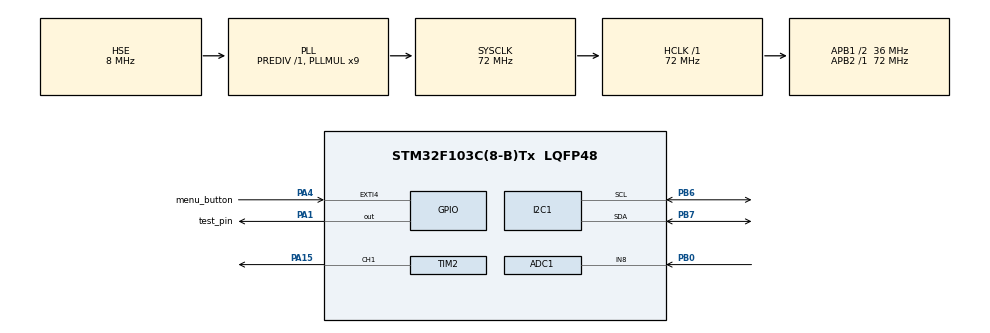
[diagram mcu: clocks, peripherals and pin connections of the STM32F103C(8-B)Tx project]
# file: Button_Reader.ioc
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ADC1.Channel-3\#ChannelRegularConversion=ADC_CHANNEL_8
ADC1.ContinuousConvMode=ENABLE
ADC1.NbrOfConversion=1
ADC1.NbrOfConversionFlag=1
ADC1.Rank-3\#ChannelRegularConversion=1
ADC1.SamplingTime-3\#ChannelRegularConversion=ADC_SAMPLETIME_239CYCLES_5
ADC1.master=1
Dma.ADC1.0.Direction=DMA_PERIPH_TO_MEMORY
Dma.ADC1.0.Instance=DMA1_Channel1
Dma.ADC1.0.MemDataAlignment=DMA_MDATAALIGN_HALFWORD
Dma.ADC1.0.MemInc=DMA_MINC_ENABLE
Dma.ADC1.0.Mode=DMA_CIRCULAR
Dma.ADC1.0.PeriphDataAlignment=DMA_PDATAALIGN_HALFWORD
Dma.ADC1.0.PeriphInc=DMA_PINC_DISABLE
Dma.ADC1.0.Priority=DMA_PRIORITY_LOW
Dma.Request0=ADC1
Mcu.Family=STM32F1
Mcu.Name=STM32F103C(8-B)Tx
Mcu.Package=LQFP48
NVIC.DMA1_Channel1_IRQn=true\:0\:0\:false\:false\:true\:false\:true
NVIC.EXTI4_IRQn=true\:0\:0\:false\:false\:true\:true\:true
NVIC.PriorityGroup=NVIC_PRIORITYGROUP_4
PA1.GPIO_Label=test_pin
PA1.Signal=GPIO_Output
PA13.Mode=Serial_Wire
PA13.Signal=SYS_JTMS-SWDIO
PA14.Mode=Serial_Wire
PA14.Signal=SYS_JTCK-SWCLK
PA15.Signal=S_TIM2_CH1_ETR
PA4.GPIO_Label=menu_button
PA4.GPIO_ModeDefaultEXTI=GPIO_MODE_IT_FALLING
PA4.Signal=GPXTI4
PB0.Signal=ADCx_IN8
PB6.Mode=I2C
PB6.Signal=I2C1_SCL
PB7.Mode=I2C
PB7.Signal=I2C1_SDA
PD0-OSC_IN.Mode=HSE-External-Oscillator
PD0-OSC_IN.Signal=RCC_OSC_IN
PD1-OSC_OUT.Mode=HSE-External-Oscillator
PD1-OSC_OUT.Signal=RCC_OSC_OUT
ProjectManager.HeapSize=0x200
ProjectManager.StackSize=0x400
ProjectManager.TargetToolchain=STM32CubeIDE
RCC.ADCPresc=RCC_ADCPCLK2_DIV6
RCC.AHBFreq_Value=72000000
RCC.APB1CLKDivider=RCC_HCLK_DIV2
RCC.APB1Freq_Value=36000000
RCC.APB1TimFreq_Value=72000000
RCC.APB2Freq_Value=72000000
RCC.APB2TimFreq_Value=72000000
RCC.HCLKFreq_Value=72000000
RCC.PLLMUL=RCC_PLL_MUL9
RCC.PLLSourceVirtual=RCC_PLLSOURCE_HSE
RCC.SYSCLKFreq_VALUE=72000000
RCC.SYSCLKSource=RCC_SYSCLKSOURCE_PLLCLK
RCC.USBFreq_Value=72000000
SH.ADCx_IN8.0=ADC1_IN8,IN8
SH.S_TIM2_CH1_ETR.0=TIM2_CH1,PWM Generation1 CH1
TIM2.Channel-PWM\ Generation1\ CH1=TIM_CHANNEL_1
TIM2.Period=100
TIM2.Prescaler=200
TIM2.Pulse-PWM\ Generation1\ CH1=0
board=custom

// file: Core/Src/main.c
/* USER CODE BEGIN Header */
/**
  ******************************************************************************
  * @file           : main.c
  * @brief          : Main program body
  ******************************************************************************
  * Author: Ward Almasarani
  ******************************************************************************
  */
/* USER CODE END Header */
#include "main.h"

ADC_HandleTypeDef hadc1;
DMA_HandleTypeDef hdma_adc1;

I2C_HandleTypeDef hi2c1;

TIM_HandleTypeDef htim2;

void SystemClock_Config(void);
static void MX_GPIO_Init(void);
static void MX_DMA_Init(void);
static void MX_ADC1_Init(void);
static void MX_TIM2_Init(void);
static void MX_I2C1_Init(void);

/* USER CODE BEGIN 0 */
MenuButton_t hMenuButton;
/* USER CODE END 0 */

int main(void)
{
  /* USER CODE BEGIN 1 */
	SoundTest_t			hSoundLevelTest;

	Pcf7584Control_t	hIndicator;

	hMenuButton.buttonFlag.data 		= RESET;			//Flag reset

	hSoundLevelTest.testSoundLevel 		= 10;

  /* USER CODE END 1 */

  /* MCU Configuration--------------------------------------------------------*/

  /* Reset of all peripherals, Initializes the Flash interface and the Systick. */
  HAL_Init();

  /* Configure the system clock */
  SystemClock_Config();

  /* Initialize all configured peripherals */
  MX_GPIO_Init();
  MX_DMA_Init();
  MX_ADC1_Init();
  MX_TIM2_Init();
  MX_I2C1_Init();
  /* USER CODE BEGIN 2 */
  uint16_t 	ADC_Buffer[1] 		= {0};										//Initialize ADC DMA buffer

  hIndicator.indicatorAddress 	= PCF8574_ADDRESS;
  hIndicator.indicatorEnable	= ENABLE;
  hIndicator.indicatorCounter	= ENABLE;
  hIndicator.indicatorLedSet 	= SET;

  hMenuButton.buttonStatus 		= MenuButtonStatus_notPressed;

  HAL_ADC_Start_DMA(&hadc1, ADC_Buffer, 1);							//Start ADC sampling over DMA

  HAL_TIM_PWM_Start(&htim2, TIM_CHANNEL_1);

  HAL_I2C_Init(&hi2c1);

  /* USER CODE END 2 */

  /* Infinite loop */
  /* USER CODE BEGIN WHILE */
  while (1)
  {

	  if(adcKeyboardHandler	(ADC_Buffer, hSoundLevelTest.testSoundLevel) != ENABLE)
	  {
		  sirenHandler			(&hSoundLevelTest);
	  }

	  indicatorHandler		(&hIndicator);

    /* USER CODE END WHILE */

    /* USER CODE BEGIN 3 */
	  if(hMenuButton.buttonFlag.bit.B0)
	  {
		  if(MenuButton_Debounce())											//Apply de-bounce algorithm before taking any action
		  {
			  hMenuButton.buttonFlag.bit.B0 = RESET;						//Reset interrupt flag

			  if(hMenuButton.buttonTimerEnable != SET)						//Start timer when the menu button gets pressed for the first time
			  {
				  hMenuButton.buttonTimerEnable = SET;						//Enable software timer
				  hMenuButton.buttonStatus = MenuButtonStatus_oneClick;		//The menu button has been pressed for one time
				  setTimer(&hMenuButton.buttonTimer);						//Start software timer
			  }
			  else
			  {
				  hMenuButton.buttonStatus = MenuButtonStatus_doubleClick;	//If the timer is already started this means that the button is pressed for the second time
			  }
		  }
	  }
	  if((checkTimer(&hMenuButton.buttonTimer, 5 * hMenuButton.buttonHeldPressedCounter)) && ( hMenuButton.buttonStatus == MenuButtonStatus_oneClick))
	  {																		//If the menu button has been pressed, take logic sample every 10 ms from the button read pin
		  if(!HAL_GPIO_ReadPin(menu_button_GPIO_Port, menu_button_Pin))		//To check if the button is still pressed
		  {
			  ++hMenuButton.buttonHeldPressedCounter;						//Increment samples number
		  }
		  hMenuButton.buttonStatus = (hMenuButton.buttonHeldPressedCounter >= 65)  ? MenuButtonStatus_heldPressed : hMenuButton.buttonStatus;
	  }																		//If the button is held pressed change button status
	  if((checkTimer(&hMenuButton.buttonTimer, 350)) && hMenuButton.buttonTimerEnable)
	  {																		//Take decision after 300 ms whether one click, double click or held pressed event has occured
		  switch(hMenuButton.buttonStatus)
		  {
		  	  case	MenuButtonStatus_oneClick:
		  		  if(soundLevelUpperBoundryCheck(hSoundLevelTest.testSoundLevel))
		  		  {
		  			hSoundLevelTest.testSoundLevel += AUDIO_LEVEL_STEP; 						//Increment sound level on step
		  		  }
		  		  if(indicatorBufferUpperCheck(hIndicator.indicatorCounter))
		  		  {
		  			  hIndicator.indicatorEnable = ENABLE;					//Enable LED indicator handler
		  			++hIndicator.indicatorCounter;							//Increment number of LEDs to be turned on
		  			  hIndicator.indicatorLedSet = SET;						//Turn on one more LED
		  		  }
		  		  break;
		  	  case 	MenuButtonStatus_doubleClick:
		  		  if(soundLevelLowerBoundryCheck(hSoundLevelTest.testSoundLevel))
		  		  {
		  			  hSoundLevelTest.testSoundLevel -= AUDIO_LEVEL_STEP;						//Detriment sound level
		  		  }
		  		  if(indicatorBufferLowerCheck(hIndicator.indicatorCounter))
		  		  {
		  			  hIndicator.indicatorEnable = ENABLE;
		  			--hIndicator.indicatorCounter;							//Increment number of LEDs to be turned on
		  			  hIndicator.indicatorLedSet = RESET;					//Turn off one more LED
		  		  }
		  		 break;
		  	  case MenuButtonStatus_heldPressed:
		  		  hSoundLevelTest.testTimerEnable ^= 1;
		  		  setTimer(&hSoundLevelTest.testTimer);
		  		  hSoundLevelTest.testDirection = ENABLE;
		  		 break;
		  	case MenuButtonStatus_notPressed:
		  		 break;

		  }
		  hMenuButton.buttonTimerEnable 		= RESET;					//Disable software timer
		  hMenuButton.buttonHeldPressedCounter 	= RESET;					//Reset counter
		  hMenuButton.buttonStatus 				= MenuButtonStatus_notPressed;
		  	  	  	  	  	  	  	  	  	  	  	  	  	  	  	  	  	//button status is set to no press to avoid misbehavior of the button functionality

	  }
//	  indicatorHandler(&hIndicator);
//	  indicatorBuffer = 0x55;
//
//	  HAL_I2C_Master_Transmit(&hi2c1, indicatorAddress, &indicatorBuffer, 1, 100);

  }
  /* USER CODE END 3 */
}

void SystemClock_Config(void)
{
  RCC_OscInitTypeDef RCC_OscInitStruct = {0};
  RCC_ClkInitTypeDef RCC_ClkInitStruct = {0};
  RCC_PeriphCLKInitTypeDef PeriphClkInit = {0};

  /** Initializes the RCC Oscillators according to the specified parameters
  * in the RCC_OscInitTypeDef structure.
  */
  RCC_OscInitStruct.OscillatorType = RCC_OSCILLATORTYPE_HSE;
  RCC_OscInitStruct.HSEState = RCC_HSE_ON;
  RCC_OscInitStruct.HSEPredivValue = RCC_HSE_PREDIV_DIV1;
  RCC_OscInitStruct.HSIState = RCC_HSI_ON;
  RCC_OscInitStruct.PLL.PLLState = RCC_PLL_ON;
  RCC_OscInitStruct.PLL.PLLSource = RCC_PLLSOURCE_HSE;
  RCC_OscInitStruct.PLL.PLLMUL = RCC_PLL_MUL9;
  if (HAL_RCC_OscConfig(&RCC_OscInitStruct) != HAL_OK)
  {
    Error_Handler();
  }
  /** Initializes the CPU, AHB and APB buses clocks
  */
  RCC_ClkInitStruct.ClockType = RCC_CLOCKTYPE_HCLK|RCC_CLOCKTYPE_SYSCLK
                              |RCC_CLOCKTYPE_PCLK1|RCC_CLOCKTYPE_PCLK2;
  RCC_ClkInitStruct.SYSCLKSource = RCC_SYSCLKSOURCE_PLLCLK;
  RCC_ClkInitStruct.AHBCLKDivider = RCC_SYSCLK_DIV1;
  RCC_ClkInitStruct.APB1CLKDivider = RCC_HCLK_DIV2;
  RCC_ClkInitStruct.APB2CLKDivider = RCC_HCLK_DIV1;

  if (HAL_RCC_ClockConfig(&RCC_ClkInitStruct, FLASH_LATENCY_2) != HAL_OK)
  {
    Error_Handler();
  }
  PeriphClkInit.PeriphClockSelection = RCC_PERIPHCLK_ADC;
  PeriphClkInit.AdcClockSelection = RCC_ADCPCLK2_DIV6;
  if (HAL_RCCEx_PeriphCLKConfig(&PeriphClkInit) != HAL_OK)
  {
    Error_Handler();
  }
}

static void MX_ADC1_Init(void)
{

  ADC_ChannelConfTypeDef sConfig = {0};

  /** Common config
  */
  hadc1.Instance = ADC1;
  hadc1.Init.ScanConvMode = ADC_SCAN_DISABLE;
  hadc1.Init.ContinuousConvMode = ENABLE;
  hadc1.Init.DiscontinuousConvMode = DISABLE;
  hadc1.Init.ExternalTrigConv = ADC_SOFTWARE_START;
  hadc1.Init.DataAlign = ADC_DATAALIGN_RIGHT;
  hadc1.Init.NbrOfConversion = 1;
  if (HAL_ADC_Init(&hadc1) != HAL_OK)
  {
    Error_Handler();
  }
  /** Configure Regular Channel
  */
  sConfig.Channel = ADC_CHANNEL_8;
  sConfig.Rank = ADC_REGULAR_RANK_1;
  sConfig.SamplingTime = ADC_SAMPLETIME_239CYCLES_5;
  if (HAL_ADC_ConfigChannel(&hadc1, &sConfig) != HAL_OK)
  {
    Error_Handler();
  }

}

static void MX_I2C1_Init(void)
{

  hi2c1.Instance = I2C1;
  hi2c1.Init.ClockSpeed = 100000;
  hi2c1.Init.DutyCycle = I2C_DUTYCYCLE_2;
  hi2c1.Init.OwnAddress1 = 0;
  hi2c1.Init.AddressingMode = I2C_ADDRESSINGMODE_7BIT;
  hi2c1.Init.DualAddressMode = I2C_DUALADDRESS_DISABLE;
  hi2c1.Init.OwnAddress2 = 0;
  hi2c1.Init.GeneralCallMode = I2C_GENERALCALL_DISABLE;
  hi2c1.Init.NoStretchMode = I2C_NOSTRETCH_DISABLE;
  if (HAL_I2C_Init(&hi2c1) != HAL_OK)
  {
    Error_Handler();
  }

}

static void MX_TIM2_Init(void)
{

  TIM_MasterConfigTypeDef sMasterConfig = {0};
  TIM_OC_InitTypeDef sConfigOC = {0};

  htim2.Instance = TIM2;
  htim2.Init.Prescaler = 200;
  htim2.Init.CounterMode = TIM_COUNTERMODE_UP;
  htim2.Init.Period = 100;
  htim2.Init.ClockDivision = TIM_CLOCKDIVISION_DIV1;
  htim2.Init.AutoReloadPreload = TIM_AUTORELOAD_PRELOAD_DISABLE;
  if (HAL_TIM_PWM_Init(&htim2) != HAL_OK)
  {
    Error_Handler();
  }
  sMasterConfig.MasterOutputTrigger = TIM_TRGO_RESET;
  sMasterConfig.MasterSlaveMode = TIM_MASTERSLAVEMODE_DISABLE;
  if (HAL_TIMEx_MasterConfigSynchronization(&htim2, &sMasterConfig) != HAL_OK)
  {
    Error_Handler();
  }
  sConfigOC.OCMode = TIM_OCMODE_PWM1;
  sConfigOC.Pulse = 0;
  sConfigOC.OCPolarity = TIM_OCPOLARITY_HIGH;
  sConfigOC.OCFastMode = TIM_OCFAST_DISABLE;
  if (HAL_TIM_PWM_ConfigChannel(&htim2, &sConfigOC, TIM_CHANNEL_1) != HAL_OK)
  {
    Error_Handler();
  }
  HAL_TIM_MspPostInit(&htim2);

}

static void MX_DMA_Init(void)
{

  /* DMA controller clock enable */
  __HAL_RCC_DMA1_CLK_ENABLE();

  /* DMA interrupt init */
  /* DMA1_Channel1_IRQn interrupt configuration */
  HAL_NVIC_SetPriority(DMA1_Channel1_IRQn, 0, 0);
  HAL_NVIC_EnableIRQ(DMA1_Channel1_IRQn);

}

static void MX_GPIO_Init(void)
{
  GPIO_InitTypeDef GPIO_InitStruct = {0};

  /* GPIO Ports Clock Enable */
  __HAL_RCC_GPIOD_CLK_ENABLE();
  __HAL_RCC_GPIOA_CLK_ENABLE();
  __HAL_RCC_GPIOB_CLK_ENABLE();

  /*Configure GPIO pin Output Level */
  HAL_GPIO_WritePin(test_pin_GPIO_Port, test_pin_Pin, GPIO_PIN_RESET);

  /*Configure GPIO pin : test_pin_Pin */
  GPIO_InitStruct.Pin = test_pin_Pin;
  GPIO_InitStruct.Mode = GPIO_MODE_OUTPUT_PP;
  GPIO_InitStruct.Pull = GPIO_NOPULL;
  GPIO_InitStruct.Speed = GPIO_SPEED_FREQ_LOW;
  HAL_GPIO_Init(test_pin_GPIO_Port, &GPIO_InitStruct);

  /*Configure GPIO pin : menu_button_Pin */
  GPIO_InitStruct.Pin = menu_button_Pin;
  GPIO_InitStruct.Mode = GPIO_MODE_IT_FALLING;
  GPIO_InitStruct.Pull = GPIO_NOPULL;
  HAL_GPIO_Init(menu_button_GPIO_Port, &GPIO_InitStruct);

  /* EXTI interrupt init*/
  HAL_NVIC_SetPriority(EXTI4_IRQn, 0, 0);
  HAL_NVIC_EnableIRQ(EXTI4_IRQn);

}

/* USER CODE BEGIN 4 */

uint8_t Button_DeBounce(uint16_t* ADC_Buffer)
{
	uint8_t 		ret = DISABLE;
	static uint16_t	Level = Restart_Level;			//Software capacitor charged level
	if(ADC_Buffer[0] < 3900)						//The level is set to be static so the last level value is not gone after executing this function
	{
		++Level;									//Increment Software capacitor charged level
	}
	else
	{												//entered when no button is pressed
		--Level;									//Decrement Software capacitor charged level
		if(Level <= Restart_Level)					//keep the lowest level at Restart_Level. this will also prevent overflow
		{
			Level = Restart_Level;
		}
	}
	if(Level >= Acceptance_Level)					//limit the Software capacitor charged level at Acceptance_Level when a button is held pressed
	{
		Level = Acceptance_Level;
		ret = ENABLE;								//Enable taking action wherever this function is called
	}
	return ret;										//Button_DeBounce functions are copies of this function for every single button added to the keyboard bus
}

uint8_t Button1_DeBounce(uint16_t* ADC_Buffer)
{
	uint8_t 		ret = DISABLE;
	static uint16_t	Level = Restart_Level;
	if(ADC_Buffer[0] < 3900)
	{
		++Level;
	}
	else
	{
		--Level;
		if(Level <= Restart_Level)
		{
			Level = Restart_Level;
		}
	}
	if(Level >= Acceptance_Level)
	{
		Level = Acceptance_Level;
		ret = ENABLE;
	}
	return ret;
}

uint8_t Button2_DeBounce(uint16_t* ADC_Buffer)
{
	uint8_t 		ret = DISABLE;
	static uint16_t	Level = Restart_Level;
	if(ADC_Buffer[0] < 3900)
	{
		++Level;
	}
	else
	{
		--Level;
		if(Level <= Restart_Level)
		{
			Level = Restart_Level;
		}
	}
	if(Level >= Acceptance_Level)
	{
		Level = Acceptance_Level;
		ret = ENABLE;
	}
	return ret;
}
uint8_t Button3_DeBounce(uint16_t* ADC_Buffer)
{
	uint8_t 		ret = DISABLE;
	static uint16_t	Level = Restart_Level;
	if(ADC_Buffer[0] < 3900)
	{
		++Level;
	}
	else
	{
		--Level;
		if(Level <= Restart_Level)
		{
			Level = Restart_Level;
		}
	}
	if(Level >= Acceptance_Level)
	{
		Level = Acceptance_Level;
		ret = ENABLE;
	}
	return ret;
}
uint8_t Button4_DeBounce(uint16_t* ADC_Buffer)
{
	uint8_t 		ret = DISABLE;
	static uint16_t	Level = Restart_Level;
	if(ADC_Buffer[0] < 3900)
	{
		++Level;
	}
	else
	{
		--Level;
		if(Level <= Restart_Level)
		{
			Level = Restart_Level;
		}
	}
	if(Level >= Acceptance_Level)
	{
		Level = Acceptance_Level;
		ret = ENABLE;
	}
	return ret;
}
uint8_t Button5_DeBounce(uint16_t* ADC_Buffer)
{
	uint8_t 		ret = DISABLE;
	static uint16_t	Level = Restart_Level;
	if(ADC_Buffer[0] < 3900)
	{
		++Level;
	}
	else
	{
		--Level;
		if(Level <= Restart_Level)
		{
			Level = Restart_Level;
		}
	}
	if(Level >= Acceptance_Level)
	{
		Level = Acceptance_Level;
		ret = ENABLE;
	}
	return ret;
}
uint8_t Button6_DeBounce(uint16_t* ADC_Buffer)
{
	uint8_t 		ret = DISABLE;
	static uint16_t	Level = Restart_Level;
	if(ADC_Buffer[0] < 3900)
	{
		++Level;
	}
	else
	{
		--Level;
		if(Level <= Restart_Level)
		{
			Level = Restart_Level;
		}
	}
	if(Level >= Acceptance_Level)
	{
		Level = Acceptance_Level;
		ret = ENABLE;
	}
	return ret;
}
uint8_t MenuButton_Debounce(void)									//Menu Button debounce function
{
	uint8_t 		ret = DISABLE;
	static uint16_t Level = Restart_Level;
	if(!HAL_GPIO_ReadPin(menu_button_GPIO_Port, menu_button_Pin))
	{
		++Level;
	}
	else
	{
		--Level;
		if(Level <= Restart_Level)
		{
			Level = Restart_Level;
		}
	}
	if(Level >= 4000)
	{
		Level = Acceptance_Level;
		ret = ENABLE;
	}
	return ret;
}

void setTimer(uint32_t* timer)
{
	*timer = HAL_GetTick();
}
uint8_t checkTimer(uint32_t* timer, uint32_t msTime)
{
	uint8_t ret = RESET;
	ret = ((HAL_GetTick() - *timer) > msTime)  ? ENABLE : DISABLE;
	return ret;
}
FunctionalState soundLevelLowerBoundryCheck(uint16_t currentSoundLevel)
{
	uint8_t ret = ENABLE;
	if( (currentSoundLevel == 0))
	{
		ret = DISABLE;
	}
	return ret;
}
FunctionalState soundLevelUpperBoundryCheck(uint16_t currentSoundLevel)
{
	uint8_t ret = ENABLE;
	if(currentSoundLevel >= 90)
	{
		ret = DISABLE;
	}
	return ret;
}
void indicatorHandler(Pcf7584Control_t* hLedIndicator)
{
	uint8_t bit = 0;
	uint8_t  IndicatorDisplay = hLedIndicator->indicatorBuffer;
	if(hLedIndicator->indicatorEnable)
	{
		hLedIndicator->indicatorEnable = DISABLE;				//Disable the activation flag to prevent entering this function
																//when no change is happening.
		indicatorBufferLoad(hLedIndicator);

		IndicatorDisplay = hLedIndicator->indicatorBuffer;		//Copy to a temporary buffer

		IndicatorDisplay ^= 0xFF;								//Invert bits before transmission

		HAL_I2C_Master_Transmit(&hi2c1,							//Start transmission
				hLedIndicator->indicatorAddress,
				&IndicatorDisplay,
				ENABLE,
				100);

	}
}

bool indicatorBufferUpperCheck(uint8_t indicatorCounter)
{
	bool ret 	= DISABLE;
	ret 		= (indicatorCounter == 8) ? DISABLE : ENABLE;	//Check if the upper indicator boundary has been reached
	return 	ret;
}

bool indicatorBufferLowerCheck(uint8_t indicatorCounter)
{
	bool ret 	= DISABLE;
	ret 		= (indicatorCounter == 0) ? DISABLE : ENABLE;	//Check if the lower indicator boundary has been reached
	return 	ret;
}

void indicatorBufferLoad(Pcf7584Control_t* hLedIndicator)
{
	uint8_t bit = 0;
	if((hLedIndicator->indicatorLedSet == RESET) && (hLedIndicator->indicatorCounter - 1 < 0))
	{
		hLedIndicator->indicatorBuffer = RESET;				//Reset the indicator buffer if the buffer counter is 0 and the incoming command
															//is to turn off one more LED
	}
	else
	{
		if(hLedIndicator->indicatorLedSet == SET)			//One more LED will be turned on
		{													//Select the bit to be set
			bit |= 1 << (hLedIndicator->indicatorCounter - 1);
			SET_BIT(hLedIndicator->indicatorBuffer, bit);	//Set one bit in the indicator buffer
		}
		else if(hLedIndicator->indicatorLedSet == RESET) 	//One more LED will be turned off
		{
			bit |= 1 << (hLedIndicator->indicatorCounter);	//Select the bit to be cleared
			CLEAR_BIT(hLedIndicator->indicatorBuffer, bit); //clear one bit in the indicator buffer
		}
	}

}
void sirenHandler(SoundTest_t* hSiren)
{
	  if(!hSiren->testTimerEnable)							//In case of sound test don't turn off the buzzer
	  {
		  htim2.Instance->CCR1  = RESET;					//Set duty cycle to be zero
	  }
	  else
	  {
		  htim2.Instance->PSC 	= 100 + hSiren->testCounter;	//Sound test related part the pre-scaler is modified continuously
		  htim2.Instance->CCR1  = hSiren->testSoundLevel;		//to output different tones
		  if(checkTimer(&hSiren->testTimer, 15))
		  {
			  setTimer(&hSiren->testTimer);
			  if(hSiren->testDirection)
			  {
				  hSiren->testCounter += 1;					//Lower frequency of PWM signal used while the sound test mode is ON
				  if(hSiren->testCounter >= 250)
				  {
					  hSiren->testDirection ^= 1;			//Used to toggle between increasing and decreasing frequency tone
				  }
			  }
			  else
			  {
				  hSiren->testCounter -= 1;					//Increase frequency signal used while the sound test mode is ON
				  if(hSiren->testCounter <= 150)
				  {
					  hSiren->testDirection ^= 1;
				  }
			  }

		  }

	  }
}

bool adcKeyboardHandler	(uint16_t* adcBuffer, uint16_t soundLevel)
{
	bool ret 	= DISABLE;
	if(adcBuffer[0] < 3900)										//it is possible that one of the buttons has been pressed
	{																//Every led will have a debounce function
	  ret = ENABLE;
	  if((adcBuffer[0] <= 500) && (adcBuffer[0] > 1)) //First region
	  {
		  if(Button_DeBounce(adcBuffer))
		  {
			  htim2.Instance->PSC 	= 125;
			  htim2.Instance->CCR1  = soundLevel;
		  }
	  }
	  else if((adcBuffer[0] <= 1250) && (adcBuffer[0] > 750)) //Second region
	  {
		  if(Button1_DeBounce(adcBuffer))
		  {
			  htim2.Instance->PSC 	= 150;
			  htim2.Instance->CCR1  = soundLevel;
		  }
	  }
	  else if((adcBuffer[0] <= 1800) && (adcBuffer[0] > 1300)) //third region
	  {
		  if(Button2_DeBounce(adcBuffer))
		  {
			  htim2.Instance->PSC 	= 175;
			  htim2.Instance->CCR1  = soundLevel;
		  }
	  }
	  else if((adcBuffer[0] <= 2300) && (adcBuffer[0] > 1800)) //Forth region
	  {
		  if(Button3_DeBounce(adcBuffer))
		  {
			  htim2.Instance->PSC 	= 200;
			  htim2.Instance->CCR1  = soundLevel;
		  }
	  }
	  else if((adcBuffer[0] <= 2900) && (adcBuffer[0] > 2400)) //Fifth region
	  {
		  if(Button4_DeBounce(adcBuffer))
		  {
			  htim2.Instance->PSC 	= 225;
			  htim2.Instance->CCR1  = soundLevel;
		  }
	  }
	  else if((adcBuffer[0] <= 3400) && (adcBuffer[0] > 3000)) //Sixth region
	  {
		  if(Button5_DeBounce(adcBuffer))
		  {
			  htim2.Instance->PSC 	= 250;
			  htim2.Instance->CCR1  = soundLevel;
		  }
	  }
	  else if((adcBuffer[0] <= 3900) && (adcBuffer[0] > 3500)) //Seventh region
	  {
		  if(Button6_DeBounce(adcBuffer))
		  {
			  htim2.Instance->PSC 	= 275;
			  htim2.Instance->CCR1  = soundLevel;
		  }
	  }
	}
	  else
	  {
		  Button_DeBounce (adcBuffer);										//Discharge software capacitors
		  Button1_DeBounce(adcBuffer);
		  Button2_DeBounce(adcBuffer);
		  Button3_DeBounce(adcBuffer);
		  Button4_DeBounce(adcBuffer);
		  Button5_DeBounce(adcBuffer);
		  Button6_DeBounce(adcBuffer);
	  }
	return ret;
}

/* USER CODE END 4 */

void Error_Handler(void)
{
}

/************************ (C) COPYRIGHT STMicroelectronics *****END OF FILE****/
